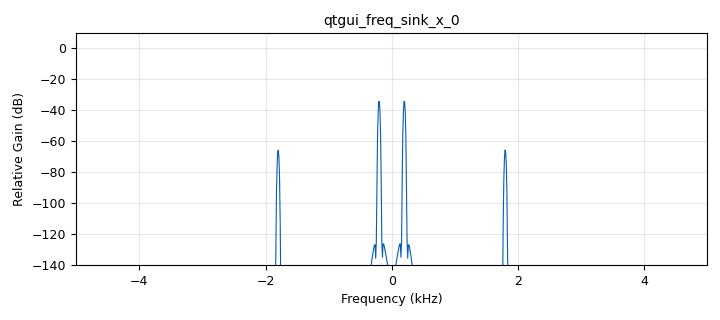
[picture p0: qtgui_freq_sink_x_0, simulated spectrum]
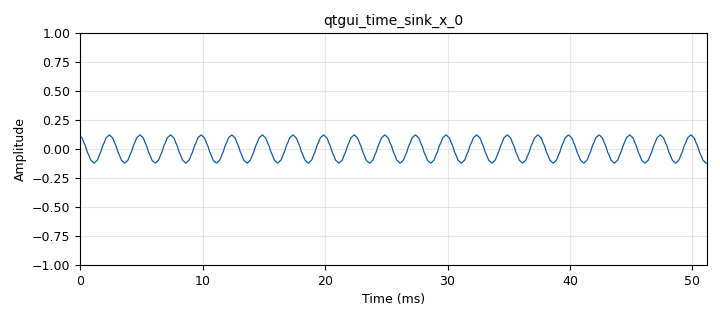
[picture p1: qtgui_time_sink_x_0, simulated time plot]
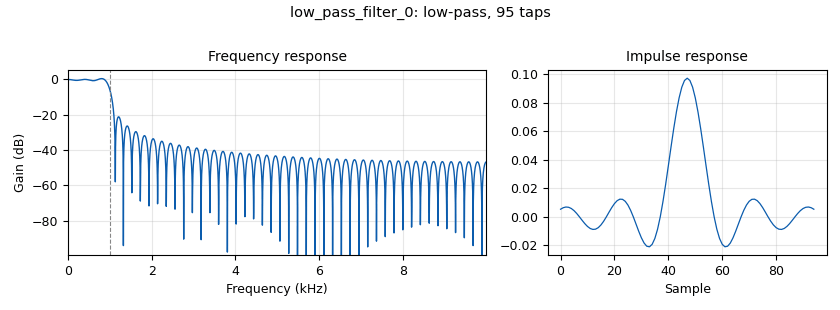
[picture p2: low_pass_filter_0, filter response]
options:
  parameters:
    author: Justin Herndon
    generate_options: qt_gui
    id: blank
    output_language: python
    title: jh4411_tutorial
  states: {}

blocks:
- name: samp_rate
  id: variable
  parameters:
    value: '20000'
  states: {}
- name: analog_sig_source_x_0
  id: analog_sig_source_x
  parameters:
    amp: '.5'
    freq: '1000'
    offset: '0'
    phase: '0'
    samp_rate: samp_rate
    type: float
    waveform: analog.GR_COS_WAVE
  states: {}
- name: analog_sig_source_x_0_0
  id: analog_sig_source_x
  parameters:
    amp: '.5'
    freq: '800'
    offset: '0'
    phase: '0'
    samp_rate: samp_rate
    type: float
    waveform: analog.GR_COS_WAVE
  states: {}
- name: audio_sink_0
  id: audio_sink
  parameters:
    samp_rate: samp_rate
  states: {}
- name: blocks_multiply_xx_0
  id: blocks_multiply_xx
  parameters:
    type: float
  states: {}
- name: blocks_throttle_0
  id: blocks_throttle
  parameters:
    samples_per_second: samp_rate
    type: float
  states: {}
- name: low_pass_filter_0
  id: low_pass_filter
  parameters:
    cutoff_freq: '1000'
    decim: '2'
    gain: '1'
    samp_rate: samp_rate
    type: fir_filter_fff
    width: '200'
    win: firdes.WIN_RECTANGULAR
  states: {}
- name: qtgui_freq_sink_x_0
  id: qtgui_freq_sink_x
  parameters:
    bw: samp_rate/2
    fc: '0'
    fftsize: '1024'
    type: float
    wintype: firdes.WIN_BLACKMAN_hARRIS
  states: {}
- name: qtgui_time_sink_x_0
  id: qtgui_time_sink_x
  parameters:
    size: '1024'
    srate: samp_rate
    style1: '3'
    type: float
  states: {}

connections:
- [analog_sig_source_x_0, '0', blocks_multiply_xx_0, '0']
- [analog_sig_source_x_0_0, '0', blocks_multiply_xx_0, '1']
- [blocks_multiply_xx_0, '0', low_pass_filter_0, '0']
- [blocks_throttle_0, '0', audio_sink_0, '0']
- [blocks_throttle_0, '0', qtgui_freq_sink_x_0, '0']
- [blocks_throttle_0, '0', qtgui_time_sink_x_0, '0']
- [low_pass_filter_0, '0', blocks_throttle_0, '0']

metadata:
  file_format: 1
